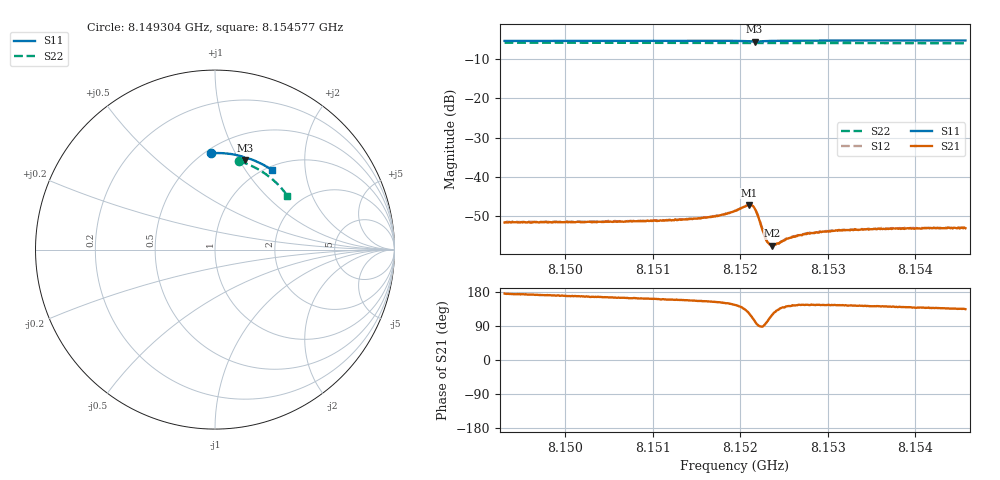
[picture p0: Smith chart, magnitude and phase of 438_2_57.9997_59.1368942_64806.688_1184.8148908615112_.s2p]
#  HZ  S  RI  R  50.00
! Rohde & Schwarz Vector Network Analyzer
! Rohde-Schwarz,ZNB20-2Port,1311601062101988,3.16
! Created: UTC 3/21/2024, 1:09:56 AM
! freq[Hz]  re:S11  im:S11  re:S21  im:S21  re:S12  im:S12  re:S22  im:S22
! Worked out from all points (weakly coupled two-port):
!   401 points, 8.149304 GHz to 8.154577 GHz, reference 50 ohm
!   highest |S21| = -47.20 dB at 8.152099 GHz (marker M1); lowest = -57.6 dB at 8.152362 GHz (marker M2)
!   lowest |S11| = -5.6 dB at 8.152165 GHz (marker M3), VSWR 3.23, Z = 38.3 + j53.1 ohm
!   |S11| at or under -10 dB: nowhere
!   |S22| runs from -6.0 to -5.8 dB; largest |S21 - S12| = 0.00012
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8.1493036e9  -0.0237 0.5368  -0.0026 0.000218  -0.00262 0.00028  0.1355 0.4923
8.1501869e9  0.0379 0.5374  -0.00258 0.000538  -0.0026 0.000621  0.1888 0.473
8.1510703e9  0.0993 0.5309  -0.00259 0.00091  -0.00262 0.000937  0.2398 0.448
8.1515977e9  0.1362 0.5232  -0.00273 0.00128  -0.00273 0.0013  0.2683 0.4304
8.1517427e9  0.1465 0.5202  -0.0028 0.00145  -0.00283 0.00154  0.2762 0.4253
8.1519405e9  0.1615 0.5145  -0.00303 0.00207  -0.00303 0.0021  0.2864 0.4178
8.1520987e9  0.1708 0.5037  -0.00244 0.00362  -0.0024 0.00365  0.2944 0.4116
8.1521382e9  0.1697 0.5006  -0.00159 0.00397  -0.00156 0.00399  0.2962 0.4101
8.1521646e9  0.1681 0.4998  -0.000882 0.00387  -0.00079 0.00388  0.2974 0.4091
8.1522042e9  0.1661 0.5017  -9.7e-05 0.00315  -3.2e-05 0.00319  0.2994 0.4079
8.1522701e9  0.1691 0.5064  -2.27e-05 0.0019  -4.58e-06 0.0019  0.3026 0.4054
8.1522965e9  0.1713 0.5074  -0.000215 0.00155  -0.000187 0.00157  0.3041 0.4045
8.1523096e9  0.1726 0.5076  -0.000294 0.00145  -0.000284 0.00147  0.3047 0.4039
8.152336e9  0.1749 0.5083  -0.000474 0.00129  -0.000469 0.00129  0.3061 0.403
8.1523624e9  0.1773 0.5083  -0.000629 0.00117  -0.000628 0.00114  0.3074 0.4019
8.1524283e9  0.1829 0.5079  -0.000944 0.00106  -0.000918 0.00105  0.3109 0.3992
8.1525733e9  0.1941 0.5053  -0.00132 0.00102  -0.00131 0.00103  0.3179 0.3933
8.1527447e9  0.2063 0.5012  -0.00154 0.00106  -0.00156 0.00108  0.3261 0.3862
8.1528238e9  0.2118 0.4993  -0.00158 0.00107  -0.00159 0.00113  0.3298 0.3829
8.1531139e9  0.2308 0.4914  -0.00168 0.00118  -0.00169 0.0012  0.3432 0.3702
8.1537072e9  0.2682 0.4734  -0.00168 0.00137  -0.0017 0.00139  0.3691 0.3433
8.1545774e9  0.3195 0.4419  -0.00154 0.00159  -0.0016 0.00161  0.4027 0.3005
